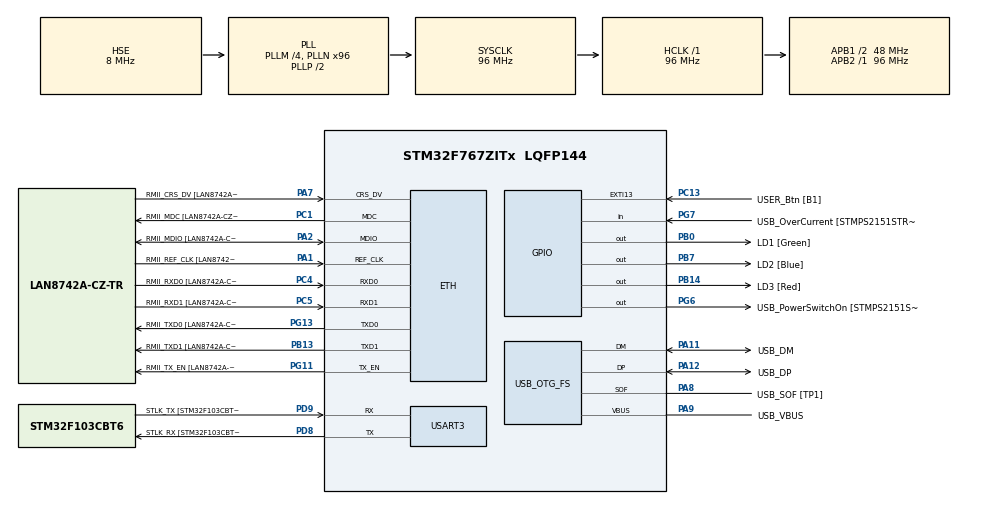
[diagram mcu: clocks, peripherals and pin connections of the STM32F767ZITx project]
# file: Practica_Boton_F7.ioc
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ETH.MediaInterface=HAL_ETH_RMII_MODE
ETH.PHY_Name=LAN8742A_PHY_ADDRESS
ETH.PHY_Value=0
ETH.PhyAddress=0
Mcu.Family=STM32F7
Mcu.Name=STM32F767ZITx
Mcu.Package=LQFP144
NVIC.PriorityGroup=NVIC_PRIORITYGROUP_4
PA1.GPIO_Label=RMII_REF_CLK [LAN8742A-CZ-TR_REFCLK0]
PA1.Mode=RMII
PA1.Signal=ETH_REF_CLK
PA10.GPIO_Label=USB_ID
PA10.Signal=USB_OTG_FS_ID
PA11.GPIO_Label=USB_DM
PA11.Mode=Device_Only
PA11.Signal=USB_OTG_FS_DM
PA12.GPIO_Label=USB_DP
PA12.Mode=Device_Only
PA12.Signal=USB_OTG_FS_DP
PA13.GPIO_Label=TMS
PA13.Mode=Serial_Wire
PA13.Signal=SYS_JTMS-SWDIO
PA14.GPIO_Label=TCK
PA14.Mode=Serial_Wire
PA14.Signal=SYS_JTCK-SWCLK
PA2.GPIO_Label=RMII_MDIO [LAN8742A-CZ-TR_MDIO]
PA2.Mode=RMII
PA2.Signal=ETH_MDIO
PA7.GPIO_Label=RMII_CRS_DV [LAN8742A-CZ-TR_CRS_DV]
PA7.Mode=RMII
PA7.Signal=ETH_CRS_DV
PA8.GPIO_Label=USB_SOF [TP1]
PA8.Mode=Activate_SOF_FS
PA8.Signal=USB_OTG_FS_SOF
PA9.GPIO_Label=USB_VBUS
PA9.Mode=Activate_VBUS
PA9.Signal=USB_OTG_FS_VBUS
PB0.GPIO_Label=LD1 [Green]
PB0.Signal=GPIO_Output
PB13.GPIO_Label=RMII_TXD1 [LAN8742A-CZ-TR_TXD1]
PB13.Mode=RMII
PB13.Signal=ETH_TXD1
PB14.GPIO_Label=LD3 [Red]
PB14.Signal=GPIO_Output
PB3.GPIO_Label=SWO
PB3.Signal=SYS_JTDO-SWO
PB7.GPIO_Label=LD2 [Blue]
PB7.Signal=GPIO_Output
PC1.GPIO_Label=RMII_MDC [LAN8742A-CZ-TR_MDC]
PC1.Mode=RMII
PC1.Signal=ETH_MDC
PC13.GPIO_Label=USER_Btn [B1]
PC13.Signal=GPXTI13
PC14/OSC32_IN.Mode=LSE-External-Oscillator
PC14/OSC32_IN.Signal=RCC_OSC32_IN
PC15/OSC32_OUT.Mode=LSE-External-Oscillator
PC15/OSC32_OUT.Signal=RCC_OSC32_OUT
PC4.GPIO_Label=RMII_RXD0 [LAN8742A-CZ-TR_RXD0]
PC4.Mode=RMII
PC4.Signal=ETH_RXD0
PC5.GPIO_Label=RMII_RXD1 [LAN8742A-CZ-TR_RXD1]
PC5.Mode=RMII
PC5.Signal=ETH_RXD1
PD8.GPIO_Label=STLK_RX [STM32F103CBT6_PA3]
PD8.Mode=Asynchronous
PD8.Signal=USART3_TX
PD9.GPIO_Label=STLK_TX [STM32F103CBT6_PA2]
PD9.Mode=Asynchronous
PD9.Signal=USART3_RX
PG11.GPIO_Label=RMII_TX_EN [LAN8742A-CZ-TR_TXEN]
PG11.Mode=RMII
PG11.Signal=ETH_TX_EN
PG13.GPIO_Label=RMII_TXD0 [LAN8742A-CZ-TR_TXD0]
PG13.Mode=RMII
PG13.Signal=ETH_TXD0
PG6.GPIO_Label=USB_PowerSwitchOn [STMPS2151STR_EN]
PG6.Signal=GPIO_Output
PG7.GPIO_Label=USB_OverCurrent [STMPS2151STR_FAULT]
PG7.Signal=GPIO_Input
PH0/OSC_IN.GPIO_Label=MCO [STM32F103CBT6_PA8]
PH0/OSC_IN.Mode=HSE-External-Clock-Source
PH0/OSC_IN.Signal=RCC_OSC_IN
PH1/OSC_OUT.Mode=HSE-External-Clock-Source
PH1/OSC_OUT.Signal=RCC_OSC_OUT
ProjectManager.HeapSize=0x200
ProjectManager.StackSize=0x400
ProjectManager.TargetToolchain=STM32CubeIDE
RCC.48MHZClocksFreq_Value=24000000
RCC.AHBFreq_Value=96000000
RCC.APB1CLKDivider=RCC_HCLK_DIV2
RCC.APB1Freq_Value=48000000
RCC.APB1TimFreq_Value=96000000
RCC.APB2Freq_Value=96000000
RCC.APB2TimFreq_Value=96000000
RCC.CortexFreq_Value=96000000
RCC.HCLKFreq_Value=96000000
RCC.HSE_VALUE=8000000
RCC.HSI_VALUE=16000000
RCC.PLLM=4
RCC.PLLMUL=RCC_PLL_MUL9
RCC.PLLN=96
RCC.PLLQ=4
RCC.PRESCALERUSB=RCC_USBCLKSOURCE_PLL_DIV1_5
RCC.SYSCLKFreq_VALUE=96000000
RCC.SYSCLKSource=RCC_SYSCLKSOURCE_PLLCLK
RCC.SYSCLKSourceVirtual=RCC_SYSCLKSOURCE_PLLCLK
RCC.USBFreq_Value=48000000
RCC.VCOOutputFreq_Value=192000000
USART3.VirtualMode-Asynchronous=VM_ASYNC
USB_OTG_FS.VirtualMode=Device_Only
board=NUCLEO-F767ZI

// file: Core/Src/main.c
/* USER CODE BEGIN Header */
/**
  ******************************************************************************
  * @file           : main.c
  * @brief          : Main program body
  ******************************************************************************
  * @attention
  *
  * Copyright (c) 2025 STMicroelectronics.
  * All rights reserved.
  *
  * This software is licensed under terms that can be found in the LICENSE file
  * in the root directory of this software component.
  * If no LICENSE file comes with this software, it is provided AS-IS.
  *
  ******************************************************************************
  */
/* USER CODE END Header */
#include "main.h"
#include "string.h"

/* USER CODE BEGIN PD */
#define DELAY 50
/* USER CODE END PD */

#if defined ( __ICCARM__ ) /*!< IAR Compiler */
#pragma location=0x2007c000
ETH_DMADescTypeDef  DMARxDscrTab[ETH_RX_DESC_CNT]; /* Ethernet Rx DMA Descriptors */
#pragma location=0x2007c0a0
ETH_DMADescTypeDef  DMATxDscrTab[ETH_TX_DESC_CNT]; /* Ethernet Tx DMA Descriptors */

#elif defined ( __CC_ARM )  /* MDK ARM Compiler */

__attribute__((at(0x2007c000))) ETH_DMADescTypeDef  DMARxDscrTab[ETH_RX_DESC_CNT]; /* Ethernet Rx DMA Descriptors */
__attribute__((at(0x2007c0a0))) ETH_DMADescTypeDef  DMATxDscrTab[ETH_TX_DESC_CNT]; /* Ethernet Tx DMA Descriptors */

#elif defined ( __GNUC__ ) /* GNU Compiler */

ETH_DMADescTypeDef DMARxDscrTab[ETH_RX_DESC_CNT] __attribute__((section(".RxDecripSection"))); /* Ethernet Rx DMA Descriptors */
ETH_DMADescTypeDef DMATxDscrTab[ETH_TX_DESC_CNT] __attribute__((section(".TxDecripSection")));   /* Ethernet Tx DMA Descriptors */
#endif

ETH_TxPacketConfig TxConfig;

ETH_HandleTypeDef heth;

UART_HandleTypeDef huart3;

PCD_HandleTypeDef hpcd_USB_OTG_FS;

void SystemClock_Config(void);
static void MX_GPIO_Init(void);
static void MX_ETH_Init(void);
static void MX_USART3_UART_Init(void);
static void MX_USB_OTG_FS_PCD_Init(void);

int main(void)
{

  /* MCU Configuration--------------------------------------------------------*/

  /* Reset of all peripherals, Initializes the Flash interface and the Systick. */
  HAL_Init();

  /* Configure the system clock */
  SystemClock_Config();

  /* Initialize all configured peripherals */
  MX_GPIO_Init();
  MX_ETH_Init();
  MX_USART3_UART_Init();
  MX_USB_OTG_FS_PCD_Init();
  /* USER CODE BEGIN 2 */
int contador = 0;
int button_pressed = 0;
  /* USER CODE END 2 */

  /* Infinite loop */
  /* USER CODE BEGIN WHILE */
  while (1)
  {
      if (HAL_GPIO_ReadPin(GPIOC, GPIO_PIN_13) == GPIO_PIN_RESET) {
          if (!button_pressed) {
              contador++;
              if (contador > 2) {
                  contador = 0;
              }
              button_pressed = 1;
          }
      } else {
          button_pressed = 0;

      }
      if (contador == 0){
    	  HAL_GPIO_WritePin(GPIOB, LD1_Pin, GPIO_PIN_SET);
		  HAL_GPIO_WritePin(GPIOB, LD3_Pin, GPIO_PIN_RESET);
		  HAL_Delay(DELAY);
      }
	  else if (contador == 1) {
		  HAL_GPIO_WritePin(GPIOB, LD1_Pin, GPIO_PIN_RESET);
		  HAL_GPIO_WritePin(GPIOB, LD2_Pin, GPIO_PIN_SET);
		  HAL_Delay(DELAY);
	  }
	  else if (contador == 2) {
		  HAL_GPIO_WritePin(GPIOB, LD2_Pin, GPIO_PIN_RESET);
		  HAL_GPIO_WritePin(GPIOB, LD3_Pin, GPIO_PIN_SET);
		  HAL_Delay(DELAY);
	  }

    /* USER CODE END WHILE */

  }
}

void SystemClock_Config(void)
{
  RCC_OscInitTypeDef RCC_OscInitStruct = {0};
  RCC_ClkInitTypeDef RCC_ClkInitStruct = {0};

  /** Configure LSE Drive Capability
  */
  HAL_PWR_EnableBkUpAccess();

  /** Configure the main internal regulator output voltage
  */
  __HAL_RCC_PWR_CLK_ENABLE();
  __HAL_PWR_VOLTAGESCALING_CONFIG(PWR_REGULATOR_VOLTAGE_SCALE3);

  /** Initializes the RCC Oscillators according to the specified parameters
  * in the RCC_OscInitTypeDef structure.
  */
  RCC_OscInitStruct.OscillatorType = RCC_OSCILLATORTYPE_HSE;
  RCC_OscInitStruct.HSEState = RCC_HSE_BYPASS;
  RCC_OscInitStruct.PLL.PLLState = RCC_PLL_ON;
  RCC_OscInitStruct.PLL.PLLSource = RCC_PLLSOURCE_HSE;
  RCC_OscInitStruct.PLL.PLLM = 4;
  RCC_OscInitStruct.PLL.PLLN = 96;
  RCC_OscInitStruct.PLL.PLLP = RCC_PLLP_DIV2;
  RCC_OscInitStruct.PLL.PLLQ = 4;
  RCC_OscInitStruct.PLL.PLLR = 2;
  if (HAL_RCC_OscConfig(&RCC_OscInitStruct) != HAL_OK)
  {
    Error_Handler();
  }

  /** Activate the Over-Drive mode
  */
  if (HAL_PWREx_EnableOverDrive() != HAL_OK)
  {
    Error_Handler();
  }

  /** Initializes the CPU, AHB and APB buses clocks
  */
  RCC_ClkInitStruct.ClockType = RCC_CLOCKTYPE_HCLK|RCC_CLOCKTYPE_SYSCLK
                              |RCC_CLOCKTYPE_PCLK1|RCC_CLOCKTYPE_PCLK2;
  RCC_ClkInitStruct.SYSCLKSource = RCC_SYSCLKSOURCE_PLLCLK;
  RCC_ClkInitStruct.AHBCLKDivider = RCC_SYSCLK_DIV1;
  RCC_ClkInitStruct.APB1CLKDivider = RCC_HCLK_DIV2;
  RCC_ClkInitStruct.APB2CLKDivider = RCC_HCLK_DIV1;

  if (HAL_RCC_ClockConfig(&RCC_ClkInitStruct, FLASH_LATENCY_3) != HAL_OK)
  {
    Error_Handler();
  }
}

static void MX_ETH_Init(void)
{

   static uint8_t MACAddr[6];

  heth.Instance = ETH;
  MACAddr[0] = 0x00;
  MACAddr[1] = 0x80;
  MACAddr[2] = 0xE1;
  MACAddr[3] = 0x00;
  MACAddr[4] = 0x00;
  MACAddr[5] = 0x00;
  heth.Init.MACAddr = &MACAddr[0];
  heth.Init.MediaInterface = HAL_ETH_RMII_MODE;
  heth.Init.TxDesc = DMATxDscrTab;
  heth.Init.RxDesc = DMARxDscrTab;
  heth.Init.RxBuffLen = 1524;

  if (HAL_ETH_Init(&heth) != HAL_OK)
  {
    Error_Handler();
  }

  memset(&TxConfig, 0 , sizeof(ETH_TxPacketConfig));
  TxConfig.Attributes = ETH_TX_PACKETS_FEATURES_CSUM | ETH_TX_PACKETS_FEATURES_CRCPAD;
  TxConfig.ChecksumCtrl = ETH_CHECKSUM_IPHDR_PAYLOAD_INSERT_PHDR_CALC;
  TxConfig.CRCPadCtrl = ETH_CRC_PAD_INSERT;

}

static void MX_USART3_UART_Init(void)
{

  huart3.Instance = USART3;
  huart3.Init.BaudRate = 115200;
  huart3.Init.WordLength = UART_WORDLENGTH_8B;
  huart3.Init.StopBits = UART_STOPBITS_1;
  huart3.Init.Parity = UART_PARITY_NONE;
  huart3.Init.Mode = UART_MODE_TX_RX;
  huart3.Init.HwFlowCtl = UART_HWCONTROL_NONE;
  huart3.Init.OverSampling = UART_OVERSAMPLING_16;
  huart3.Init.OneBitSampling = UART_ONE_BIT_SAMPLE_DISABLE;
  huart3.AdvancedInit.AdvFeatureInit = UART_ADVFEATURE_NO_INIT;
  if (HAL_UART_Init(&huart3) != HAL_OK)
  {
    Error_Handler();
  }

}

static void MX_USB_OTG_FS_PCD_Init(void)
{

  hpcd_USB_OTG_FS.Instance = USB_OTG_FS;
  hpcd_USB_OTG_FS.Init.dev_endpoints = 6;
  hpcd_USB_OTG_FS.Init.speed = PCD_SPEED_FULL;
  hpcd_USB_OTG_FS.Init.dma_enable = DISABLE;
  hpcd_USB_OTG_FS.Init.phy_itface = PCD_PHY_EMBEDDED;
  hpcd_USB_OTG_FS.Init.Sof_enable = ENABLE;
  hpcd_USB_OTG_FS.Init.low_power_enable = DISABLE;
  hpcd_USB_OTG_FS.Init.lpm_enable = DISABLE;
  hpcd_USB_OTG_FS.Init.vbus_sensing_enable = ENABLE;
  hpcd_USB_OTG_FS.Init.use_dedicated_ep1 = DISABLE;
  if (HAL_PCD_Init(&hpcd_USB_OTG_FS) != HAL_OK)
  {
    Error_Handler();
  }

}

static void MX_GPIO_Init(void)
{
  GPIO_InitTypeDef GPIO_InitStruct = {0};

  /* GPIO Ports Clock Enable */
  __HAL_RCC_GPIOC_CLK_ENABLE();
  __HAL_RCC_GPIOH_CLK_ENABLE();
  __HAL_RCC_GPIOA_CLK_ENABLE();
  __HAL_RCC_GPIOB_CLK_ENABLE();
  __HAL_RCC_GPIOD_CLK_ENABLE();
  __HAL_RCC_GPIOG_CLK_ENABLE();

  /*Configure GPIO pin Output Level */
  HAL_GPIO_WritePin(GPIOB, LD1_Pin|LD3_Pin|LD2_Pin, GPIO_PIN_RESET);

  /*Configure GPIO pin Output Level */
  HAL_GPIO_WritePin(USB_PowerSwitchOn_GPIO_Port, USB_PowerSwitchOn_Pin, GPIO_PIN_RESET);

  /*Configure GPIO pin : USER_Btn_Pin */
  GPIO_InitStruct.Pin = USER_Btn_Pin;
  GPIO_InitStruct.Mode = GPIO_MODE_IT_RISING;
  GPIO_InitStruct.Pull = GPIO_NOPULL;
  HAL_GPIO_Init(USER_Btn_GPIO_Port, &GPIO_InitStruct);

  /*Configure GPIO pins : LD1_Pin LD3_Pin LD2_Pin */
  GPIO_InitStruct.Pin = LD1_Pin|LD3_Pin|LD2_Pin;
  GPIO_InitStruct.Mode = GPIO_MODE_OUTPUT_PP;
  GPIO_InitStruct.Pull = GPIO_NOPULL;
  GPIO_InitStruct.Speed = GPIO_SPEED_FREQ_LOW;
  HAL_GPIO_Init(GPIOB, &GPIO_InitStruct);

  /*Configure GPIO pin : USB_PowerSwitchOn_Pin */
  GPIO_InitStruct.Pin = USB_PowerSwitchOn_Pin;
  GPIO_InitStruct.Mode = GPIO_MODE_OUTPUT_PP;
  GPIO_InitStruct.Pull = GPIO_NOPULL;
  GPIO_InitStruct.Speed = GPIO_SPEED_FREQ_LOW;
  HAL_GPIO_Init(USB_PowerSwitchOn_GPIO_Port, &GPIO_InitStruct);

  /*Configure GPIO pin : USB_OverCurrent_Pin */
  GPIO_InitStruct.Pin = USB_OverCurrent_Pin;
  GPIO_InitStruct.Mode = GPIO_MODE_INPUT;
  GPIO_InitStruct.Pull = GPIO_NOPULL;
  HAL_GPIO_Init(USB_OverCurrent_GPIO_Port, &GPIO_InitStruct);

}

void Error_Handler(void)
{
  __disable_irq();
  while (1)
  {
  }
}
